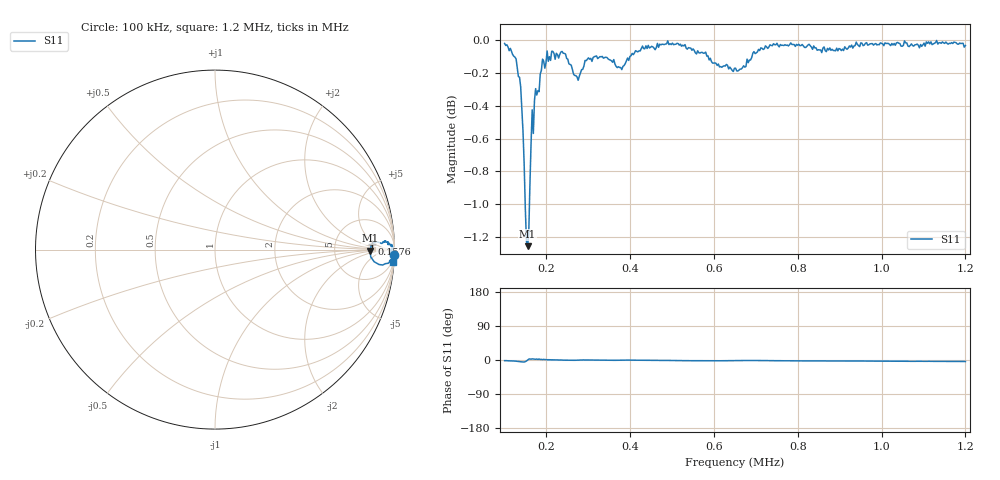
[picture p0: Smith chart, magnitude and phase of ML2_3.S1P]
!Agilent Technologies,E5071C,MY46100265,A.07.02
!Date: Wed Mar 04 14:22:25 2020
!Data & Calibration Information:
!Freq	S11:SOLT1(ON)
# Hz S RI R 50
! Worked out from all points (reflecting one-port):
!   402 points, 100 kHz to 1.2 MHz, reference 50 ohm
!   lowest |S11| = -1.3 dB at 154.9 kHz (marker M1), VSWR 13.86, Z = 691 - j35 ohm
!   phase of S11 starts at -2 deg and turns -2 deg over the sweep
!   S11 on the Smith chart (normalised r, x): 100 kHz: 5, -68; 157.6 kHz: 14, +4; 1.2 MHz: 1, -29
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100000  0.9974 -0.0294
130175  0.9792 -0.0602
138404  0.9648 -0.0762
143890  0.9342 -0.0858
149377  0.8867 -0.0675
152120  0.8674 -0.0404
154863  0.8654 -0.00636
157606  0.8722 0.034
163092  0.9289 0.0341
168579  0.9357 0.0429
187781  0.9788 0.0294
206983  0.9886 0.00961
239900  0.991 -0.00742
259102  0.9826 -0.0116
272818  0.9747 -0.00697
292020  0.986 -0.000508
316708  0.9888 -0.00725
355112  0.9857 -0.0137
377057  0.9811 -0.00815
431920  0.9942 -0.012
514214  0.9975 -0.0249
596509  0.9836 -0.0339
651372  0.9803 -0.0279
684289  0.986 -0.0227
788529  0.9964 -0.0382
925686  0.9942 -0.0472
1062843  0.9944 -0.0572
1200000  0.994 -0.0692
